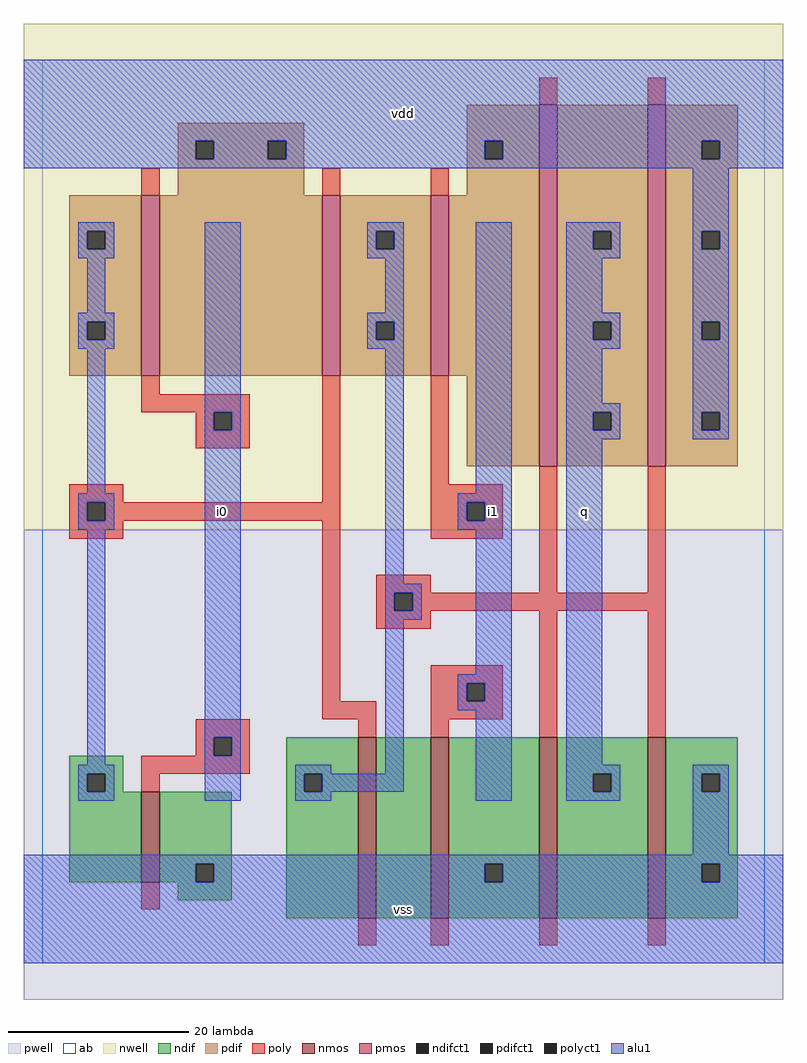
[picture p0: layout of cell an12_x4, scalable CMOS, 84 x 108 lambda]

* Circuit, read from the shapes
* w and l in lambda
.subckt an12_x4 i0 i1 q vdd vss
M1 vss i0 n1 VSUBS nfet w=10 l=2
M2 n2 n1 n3 VSUBS nfet w=20 l=2
M3 vss i1 n2 VSUBS nfet w=20 l=2
M4 q n3 vss VSUBS nfet w=20 l=2 m=2
M5 vdd i0 n1 n4 pfet w=20 l=2
M6 n3 n1 vdd n4 pfet w=20 l=2
M7 vdd i1 n3 n4 pfet w=20 l=2
M8 q n3 vdd n4 pfet w=40 l=2 m=2
.ends

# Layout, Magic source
magic
tech scmos
<< ab >>
rect 0 0 80 100
<< nwell >>
rect -2 48 82 104
<< pwell >>
rect -2 -4 82 48
<< poly >>
rect 55 95 57 98
rect 67 95 69 98
rect 11 85 13 88
rect 31 85 33 88
rect 43 85 45 88
rect 11 63 13 65
rect 11 61 23 63
rect 17 59 19 61
rect 21 59 23 61
rect 17 57 23 59
rect 3 51 9 53
rect 31 51 33 65
rect 3 49 5 51
rect 7 49 33 51
rect 3 47 9 49
rect 31 29 33 49
rect 43 53 45 65
rect 43 51 51 53
rect 43 49 47 51
rect 49 49 51 51
rect 43 47 51 49
rect 37 41 43 43
rect 55 41 57 55
rect 67 41 69 55
rect 37 39 39 41
rect 41 39 69 41
rect 37 37 43 39
rect 43 31 51 33
rect 43 29 47 31
rect 49 29 51 31
rect 31 27 37 29
rect 17 25 23 27
rect 35 25 37 27
rect 43 27 51 29
rect 43 25 45 27
rect 55 25 57 39
rect 67 25 69 39
rect 17 23 19 25
rect 21 23 23 25
rect 11 21 23 23
rect 11 19 13 21
rect 11 6 13 9
rect 35 2 37 5
rect 43 2 45 5
rect 55 2 57 5
rect 67 2 69 5
<< ndif >>
rect 3 21 9 23
rect 3 19 5 21
rect 7 19 9 21
rect 27 21 35 25
rect 27 19 29 21
rect 31 19 35 21
rect 3 9 11 19
rect 13 11 21 19
rect 13 9 17 11
rect 19 9 21 11
rect 15 7 21 9
rect 27 5 35 19
rect 37 5 43 25
rect 45 11 55 25
rect 45 9 49 11
rect 51 9 55 11
rect 45 5 55 9
rect 57 21 67 25
rect 57 19 61 21
rect 63 19 67 21
rect 57 5 67 19
rect 69 21 77 25
rect 69 19 73 21
rect 75 19 77 21
rect 69 11 77 19
rect 69 9 73 11
rect 75 9 77 11
rect 69 5 77 9
<< pdif >>
rect 15 91 29 93
rect 15 89 17 91
rect 19 89 25 91
rect 27 89 29 91
rect 15 85 29 89
rect 47 91 55 95
rect 47 89 49 91
rect 51 89 55 91
rect 47 85 55 89
rect 3 81 11 85
rect 3 79 5 81
rect 7 79 11 81
rect 3 71 11 79
rect 3 69 5 71
rect 7 69 11 71
rect 3 65 11 69
rect 13 65 31 85
rect 33 81 43 85
rect 33 79 37 81
rect 39 79 43 81
rect 33 71 43 79
rect 33 69 37 71
rect 39 69 43 71
rect 33 65 43 69
rect 45 65 55 85
rect 47 55 55 65
rect 57 81 67 95
rect 57 79 61 81
rect 63 79 67 81
rect 57 71 67 79
rect 57 69 61 71
rect 63 69 67 71
rect 57 61 67 69
rect 57 59 61 61
rect 63 59 67 61
rect 57 55 67 59
rect 69 91 77 95
rect 69 89 73 91
rect 75 89 77 91
rect 69 81 77 89
rect 69 79 73 81
rect 75 79 77 81
rect 69 71 77 79
rect 69 69 73 71
rect 75 69 77 71
rect 69 61 77 69
rect 69 59 73 61
rect 75 59 77 61
rect 69 55 77 59
<< alu1 >>
rect -2 91 82 100
rect -2 89 17 91
rect 19 89 25 91
rect 27 89 49 91
rect 51 89 73 91
rect 75 89 82 91
rect -2 88 82 89
rect 4 81 8 82
rect 4 79 5 81
rect 7 79 8 81
rect 4 78 8 79
rect 5 72 7 78
rect 4 71 8 72
rect 4 69 5 71
rect 7 69 8 71
rect 4 68 8 69
rect 5 52 7 68
rect 18 61 22 82
rect 36 81 40 82
rect 36 79 37 81
rect 39 79 40 81
rect 36 78 40 79
rect 38 72 40 78
rect 36 71 40 72
rect 36 69 37 71
rect 39 69 40 71
rect 36 68 40 69
rect 18 59 19 61
rect 21 59 22 61
rect 4 51 8 52
rect 4 49 5 51
rect 7 49 8 51
rect 4 48 8 49
rect 5 22 7 48
rect 18 25 22 59
rect 18 23 19 25
rect 21 23 22 25
rect 4 21 8 22
rect 4 19 5 21
rect 7 19 8 21
rect 4 18 8 19
rect 18 18 22 23
rect 38 42 40 68
rect 48 52 52 82
rect 46 51 52 52
rect 46 49 47 51
rect 49 49 52 51
rect 46 48 52 49
rect 38 41 42 42
rect 38 39 39 41
rect 41 39 42 41
rect 38 38 42 39
rect 28 21 32 22
rect 38 21 40 38
rect 48 32 52 48
rect 46 31 52 32
rect 46 29 47 31
rect 49 29 52 31
rect 46 28 52 29
rect 28 19 29 21
rect 31 19 40 21
rect 28 18 32 19
rect 48 18 52 28
rect 58 81 64 82
rect 58 79 61 81
rect 63 79 64 81
rect 58 78 64 79
rect 72 81 76 88
rect 72 79 73 81
rect 75 79 76 81
rect 58 72 62 78
rect 58 71 64 72
rect 58 69 61 71
rect 63 69 64 71
rect 58 68 64 69
rect 72 71 76 79
rect 72 69 73 71
rect 75 69 76 71
rect 58 62 62 68
rect 58 61 64 62
rect 58 59 61 61
rect 63 59 64 61
rect 58 58 64 59
rect 72 61 76 69
rect 72 59 73 61
rect 75 59 76 61
rect 72 58 76 59
rect 58 22 62 58
rect 58 21 64 22
rect 58 19 61 21
rect 63 19 64 21
rect 58 18 64 19
rect 72 21 76 22
rect 72 19 73 21
rect 75 19 76 21
rect 72 12 76 19
rect -2 11 82 12
rect -2 9 17 11
rect 19 9 49 11
rect 51 9 73 11
rect 75 9 82 11
rect -2 0 82 9
<< nmos >>
rect 11 9 13 19
rect 35 5 37 25
rect 43 5 45 25
rect 55 5 57 25
rect 67 5 69 25
<< pmos >>
rect 11 65 13 85
rect 31 65 33 85
rect 43 65 45 85
rect 55 55 57 95
rect 67 55 69 95
<< polyct1 >>
rect 19 59 21 61
rect 5 49 7 51
rect 47 49 49 51
rect 39 39 41 41
rect 47 29 49 31
rect 19 23 21 25
<< ndifct1 >>
rect 5 19 7 21
rect 29 19 31 21
rect 17 9 19 11
rect 49 9 51 11
rect 61 19 63 21
rect 73 19 75 21
rect 73 9 75 11
<< pdifct1 >>
rect 17 89 19 91
rect 25 89 27 91
rect 49 89 51 91
rect 5 79 7 81
rect 5 69 7 71
rect 37 79 39 81
rect 37 69 39 71
rect 61 79 63 81
rect 61 69 63 71
rect 61 59 63 61
rect 73 89 75 91
rect 73 79 75 81
rect 73 69 75 71
rect 73 59 75 61
<< labels >>
rlabel alu1 20 50 20 50 6 i0
rlabel alu1 40 6 40 6 6 vss
rlabel alu1 50 50 50 50 6 i1
rlabel alu1 40 94 40 94 6 vdd
rlabel alu1 60 50 60 50 6 q
<< end >>
